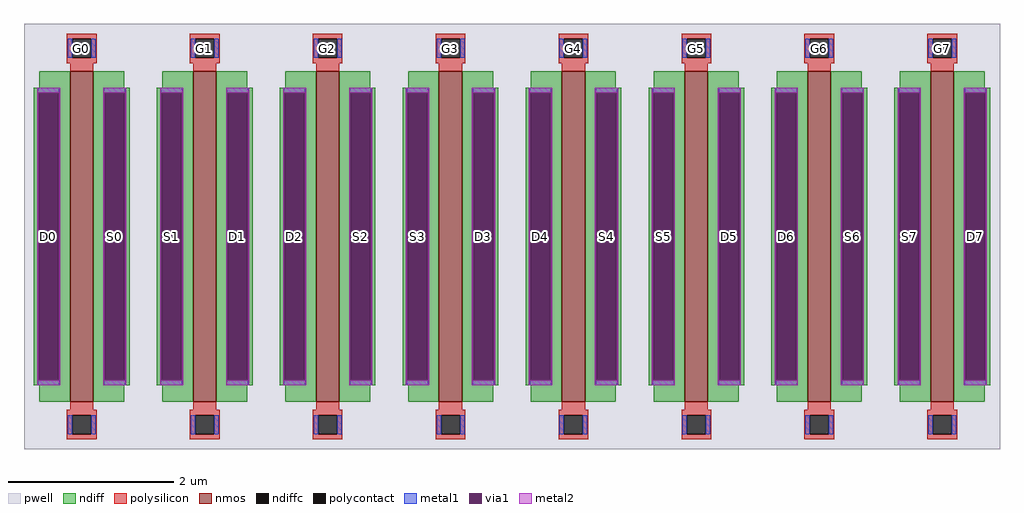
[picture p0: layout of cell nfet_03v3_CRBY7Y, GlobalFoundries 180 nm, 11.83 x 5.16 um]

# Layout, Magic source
magic
tech gf180mcuD
magscale 1 10
<< pwell >>
rect -1183 -516 1183 516
<< nmos >>
rect -1071 -400 -1015 400
rect -773 -400 -717 400
rect -475 -400 -419 400
rect -177 -400 -121 400
rect 121 -400 177 400
rect 419 -400 475 400
rect 717 -400 773 400
rect 1015 -400 1071 400
<< ndiff >>
rect -1146 361 -1071 400
rect -1159 348 -1071 361
rect -1159 -348 -1146 348
rect -1100 -348 -1071 348
rect -1159 -361 -1071 -348
rect -1146 -400 -1071 -361
rect -1015 361 -940 400
rect -848 361 -773 400
rect -1015 348 -927 361
rect -1015 -348 -986 348
rect -940 -348 -927 348
rect -1015 -361 -927 -348
rect -861 348 -773 361
rect -861 -348 -848 348
rect -802 -348 -773 348
rect -861 -361 -773 -348
rect -1015 -400 -940 -361
rect -848 -400 -773 -361
rect -717 361 -642 400
rect -550 361 -475 400
rect -717 348 -629 361
rect -717 -348 -688 348
rect -642 -348 -629 348
rect -717 -361 -629 -348
rect -563 348 -475 361
rect -563 -348 -550 348
rect -504 -348 -475 348
rect -563 -361 -475 -348
rect -717 -400 -642 -361
rect -550 -400 -475 -361
rect -419 361 -344 400
rect -252 361 -177 400
rect -419 348 -331 361
rect -419 -348 -390 348
rect -344 -348 -331 348
rect -419 -361 -331 -348
rect -265 348 -177 361
rect -265 -348 -252 348
rect -206 -348 -177 348
rect -265 -361 -177 -348
rect -419 -400 -344 -361
rect -252 -400 -177 -361
rect -121 361 -46 400
rect 46 361 121 400
rect -121 348 -33 361
rect -121 -348 -92 348
rect -46 -348 -33 348
rect -121 -361 -33 -348
rect 33 348 121 361
rect 33 -348 46 348
rect 92 -348 121 348
rect 33 -361 121 -348
rect -121 -400 -46 -361
rect 46 -400 121 -361
rect 177 361 252 400
rect 344 361 419 400
rect 177 348 265 361
rect 177 -348 206 348
rect 252 -348 265 348
rect 177 -361 265 -348
rect 331 348 419 361
rect 331 -348 344 348
rect 390 -348 419 348
rect 331 -361 419 -348
rect 177 -400 252 -361
rect 344 -400 419 -361
rect 475 361 550 400
rect 642 361 717 400
rect 475 348 563 361
rect 475 -348 504 348
rect 550 -348 563 348
rect 475 -361 563 -348
rect 629 348 717 361
rect 629 -348 642 348
rect 688 -348 717 348
rect 629 -361 717 -348
rect 475 -400 550 -361
rect 642 -400 717 -361
rect 773 361 848 400
rect 940 361 1015 400
rect 773 348 861 361
rect 773 -348 802 348
rect 848 -348 861 348
rect 773 -361 861 -348
rect 927 348 1015 361
rect 927 -348 940 348
rect 986 -348 1015 348
rect 927 -361 1015 -348
rect 773 -400 848 -361
rect 940 -400 1015 -361
rect 1071 361 1146 400
rect 1071 348 1159 361
rect 1071 -348 1100 348
rect 1146 -348 1159 348
rect 1071 -361 1159 -348
rect 1071 -400 1146 -361
<< ndiffc >>
rect -1146 -348 -1100 348
rect -986 -348 -940 348
rect -848 -348 -802 348
rect -688 -348 -642 348
rect -550 -348 -504 348
rect -390 -348 -344 348
rect -252 -348 -206 348
rect -92 -348 -46 348
rect 46 -348 92 348
rect 206 -348 252 348
rect 344 -348 390 348
rect 504 -348 550 348
rect 642 -348 688 348
rect 802 -348 848 348
rect 940 -348 986 348
rect 1100 -348 1146 348
<< polysilicon >>
rect -1079 479 -1007 492
rect -1079 433 -1066 479
rect -1020 433 -1007 479
rect -1079 420 -1007 433
rect -781 479 -709 492
rect -781 433 -768 479
rect -722 433 -709 479
rect -781 420 -709 433
rect -483 479 -411 492
rect -483 433 -470 479
rect -424 433 -411 479
rect -483 420 -411 433
rect -185 479 -113 492
rect -185 433 -172 479
rect -126 433 -113 479
rect -185 420 -113 433
rect 113 479 185 492
rect 113 433 126 479
rect 172 433 185 479
rect 113 420 185 433
rect 411 479 483 492
rect 411 433 424 479
rect 470 433 483 479
rect 411 420 483 433
rect 709 479 781 492
rect 709 433 722 479
rect 768 433 781 479
rect 709 420 781 433
rect 1007 479 1079 492
rect 1007 433 1020 479
rect 1066 433 1079 479
rect 1007 420 1079 433
rect -1071 400 -1015 420
rect -773 400 -717 420
rect -475 400 -419 420
rect -177 400 -121 420
rect 121 400 177 420
rect 419 400 475 420
rect 717 400 773 420
rect 1015 400 1071 420
rect -1071 -420 -1015 -400
rect -773 -420 -717 -400
rect -475 -420 -419 -400
rect -177 -420 -121 -400
rect 121 -420 177 -400
rect 419 -420 475 -400
rect 717 -420 773 -400
rect 1015 -420 1071 -400
rect -1079 -433 -1007 -420
rect -1079 -479 -1066 -433
rect -1020 -479 -1007 -433
rect -1079 -492 -1007 -479
rect -781 -433 -709 -420
rect -781 -479 -768 -433
rect -722 -479 -709 -433
rect -781 -492 -709 -479
rect -483 -433 -411 -420
rect -483 -479 -470 -433
rect -424 -479 -411 -433
rect -483 -492 -411 -479
rect -185 -433 -113 -420
rect -185 -479 -172 -433
rect -126 -479 -113 -433
rect -185 -492 -113 -479
rect 113 -433 185 -420
rect 113 -479 126 -433
rect 172 -479 185 -433
rect 113 -492 185 -479
rect 411 -433 483 -420
rect 411 -479 424 -433
rect 470 -479 483 -433
rect 411 -492 483 -479
rect 709 -433 781 -420
rect 709 -479 722 -433
rect 768 -479 781 -433
rect 709 -492 781 -479
rect 1007 -433 1079 -420
rect 1007 -479 1020 -433
rect 1066 -479 1079 -433
rect 1007 -492 1079 -479
<< polycontact >>
rect -1066 433 -1020 479
rect -768 433 -722 479
rect -470 433 -424 479
rect -172 433 -126 479
rect 126 433 172 479
rect 424 433 470 479
rect 722 433 768 479
rect 1020 433 1066 479
rect -1066 -479 -1020 -433
rect -768 -479 -722 -433
rect -470 -479 -424 -433
rect -172 -479 -126 -433
rect 126 -479 172 -433
rect 424 -479 470 -433
rect 722 -479 768 -433
rect 1020 -479 1066 -433
<< metal1 >>
rect -1077 433 -1066 479
rect -1020 433 -1009 479
rect -779 433 -768 479
rect -722 433 -711 479
rect -481 433 -470 479
rect -424 433 -413 479
rect -183 433 -172 479
rect -126 433 -115 479
rect 115 433 126 479
rect 172 433 183 479
rect 413 433 424 479
rect 470 433 481 479
rect 711 433 722 479
rect 768 433 779 479
rect 1009 433 1020 479
rect 1066 433 1077 479
rect -1149 348 -1097 360
rect -1149 -360 -1097 -348
rect -989 348 -937 360
rect -989 -360 -937 -348
rect -851 348 -799 360
rect -851 -360 -799 -348
rect -691 348 -639 360
rect -691 -360 -639 -348
rect -553 348 -501 360
rect -553 -360 -501 -348
rect -393 348 -341 360
rect -393 -360 -341 -348
rect -255 348 -203 360
rect -255 -360 -203 -348
rect -95 348 -43 360
rect -95 -360 -43 -348
rect 43 348 95 360
rect 43 -360 95 -348
rect 203 348 255 360
rect 203 -360 255 -348
rect 341 348 393 360
rect 341 -360 393 -348
rect 501 348 553 360
rect 501 -360 553 -348
rect 639 348 691 360
rect 639 -360 691 -348
rect 799 348 851 360
rect 799 -360 851 -348
rect 937 348 989 360
rect 937 -360 989 -348
rect 1097 348 1149 360
rect 1097 -360 1149 -348
rect -1077 -479 -1066 -433
rect -1020 -479 -1009 -433
rect -779 -479 -768 -433
rect -722 -479 -711 -433
rect -481 -479 -470 -433
rect -424 -479 -413 -433
rect -183 -479 -172 -433
rect -126 -479 -115 -433
rect 115 -479 126 -433
rect 172 -479 183 -433
rect 413 -479 424 -433
rect 470 -479 481 -433
rect 711 -479 722 -433
rect 768 -479 779 -433
rect 1009 -479 1020 -433
rect 1066 -479 1077 -433
<< via1 >>
rect -1149 -348 -1146 348
rect -1146 -348 -1100 348
rect -1100 -348 -1097 348
rect -989 -348 -986 348
rect -986 -348 -940 348
rect -940 -348 -937 348
rect -851 -348 -848 348
rect -848 -348 -802 348
rect -802 -348 -799 348
rect -691 -348 -688 348
rect -688 -348 -642 348
rect -642 -348 -639 348
rect -553 -348 -550 348
rect -550 -348 -504 348
rect -504 -348 -501 348
rect -393 -348 -390 348
rect -390 -348 -344 348
rect -344 -348 -341 348
rect -255 -348 -252 348
rect -252 -348 -206 348
rect -206 -348 -203 348
rect -95 -348 -92 348
rect -92 -348 -46 348
rect -46 -348 -43 348
rect 43 -348 46 348
rect 46 -348 92 348
rect 92 -348 95 348
rect 203 -348 206 348
rect 206 -348 252 348
rect 252 -348 255 348
rect 341 -348 344 348
rect 344 -348 390 348
rect 390 -348 393 348
rect 501 -348 504 348
rect 504 -348 550 348
rect 550 -348 553 348
rect 639 -348 642 348
rect 642 -348 688 348
rect 688 -348 691 348
rect 799 -348 802 348
rect 802 -348 848 348
rect 848 -348 851 348
rect 937 -348 940 348
rect 940 -348 986 348
rect 986 -348 989 348
rect 1097 -348 1100 348
rect 1100 -348 1146 348
rect 1146 -348 1149 348
<< metal2 >>
rect -1151 348 -1095 360
rect -1151 -348 -1149 348
rect -1097 -348 -1095 348
rect -1151 -360 -1095 -348
rect -991 348 -935 360
rect -991 -348 -989 348
rect -937 -348 -935 348
rect -991 -360 -935 -348
rect -853 348 -797 360
rect -853 -348 -851 348
rect -799 -348 -797 348
rect -853 -360 -797 -348
rect -693 348 -637 360
rect -693 -348 -691 348
rect -639 -348 -637 348
rect -693 -360 -637 -348
rect -555 348 -499 360
rect -555 -348 -553 348
rect -501 -348 -499 348
rect -555 -360 -499 -348
rect -395 348 -339 360
rect -395 -348 -393 348
rect -341 -348 -339 348
rect -395 -360 -339 -348
rect -257 348 -201 360
rect -257 -348 -255 348
rect -203 -348 -201 348
rect -257 -360 -201 -348
rect -97 348 -41 360
rect -97 -348 -95 348
rect -43 -348 -41 348
rect -97 -360 -41 -348
rect 41 348 97 360
rect 41 -348 43 348
rect 95 -348 97 348
rect 41 -360 97 -348
rect 201 348 257 360
rect 201 -348 203 348
rect 255 -348 257 348
rect 201 -360 257 -348
rect 339 348 395 360
rect 339 -348 341 348
rect 393 -348 395 348
rect 339 -360 395 -348
rect 499 348 555 360
rect 499 -348 501 348
rect 553 -348 555 348
rect 499 -360 555 -348
rect 637 348 693 360
rect 637 -348 639 348
rect 691 -348 693 348
rect 637 -360 693 -348
rect 797 348 853 360
rect 797 -348 799 348
rect 851 -348 853 348
rect 797 -360 853 -348
rect 935 348 991 360
rect 935 -348 937 348
rect 989 -348 991 348
rect 935 -360 991 -348
rect 1095 348 1151 360
rect 1095 -348 1097 348
rect 1149 -348 1151 348
rect 1095 -360 1151 -348
<< labels >>
rlabel ndiffc -1123 0 -1123 0 0 D0
port 1 nsew
rlabel ndiffc -963 0 -963 0 0 S0
port 2 nsew
rlabel polycontact -1043 456 -1043 456 0 G0
port 3 nsew
rlabel ndiffc -665 0 -665 0 0 D1
port 4 nsew
rlabel ndiffc -825 0 -825 0 0 S1
port 5 nsew
rlabel polycontact -745 456 -745 456 0 G1
port 6 nsew
rlabel ndiffc -527 0 -527 0 0 D2
port 7 nsew
rlabel ndiffc -367 0 -367 0 0 S2
port 8 nsew
rlabel polycontact -447 456 -447 456 0 G2
port 9 nsew
rlabel ndiffc -69 0 -69 0 0 D3
port 10 nsew
rlabel ndiffc -229 0 -229 0 0 S3
port 11 nsew
rlabel polycontact -149 456 -149 456 0 G3
port 12 nsew
rlabel ndiffc 69 0 69 0 0 D4
port 13 nsew
rlabel ndiffc 229 0 229 0 0 S4
port 14 nsew
rlabel polycontact 149 456 149 456 0 G4
port 15 nsew
rlabel ndiffc 527 0 527 0 0 D5
port 16 nsew
rlabel ndiffc 367 0 367 0 0 S5
port 17 nsew
rlabel polycontact 447 456 447 456 0 G5
port 18 nsew
rlabel ndiffc 665 0 665 0 0 D6
port 19 nsew
rlabel ndiffc 825 0 825 0 0 S6
port 20 nsew
rlabel polycontact 745 456 745 456 0 G6
port 21 nsew
rlabel ndiffc 1123 0 1123 0 0 D7
port 22 nsew
rlabel ndiffc 963 0 963 0 0 S7
port 23 nsew
rlabel polycontact 1043 456 1043 456 0 G7
port 24 nsew
<< properties >>
string gencell nfet_03v3
string library gf180mcu
string parameters w 4.0 l 0.28 m 1 nf 8 diffcov 90 polycov 100 guard 0 glc 0 grc 0 gtc 0 gbc 0 tbcov 100 rlcov 100 topc 1 botc 1 poverlap 0 doverlap 0 lmin 0.28 wmin 0.22 class mosfet full_metal 0 viasrc 90 viadrn 90 viagate 0 viagb 0 viagr 0 viagl 0 viagt 0 doports 1 compatible {nfet_03v3 nfet_05v0 nfet_06v0 nfet_06v0_nvt}
<< end >>
